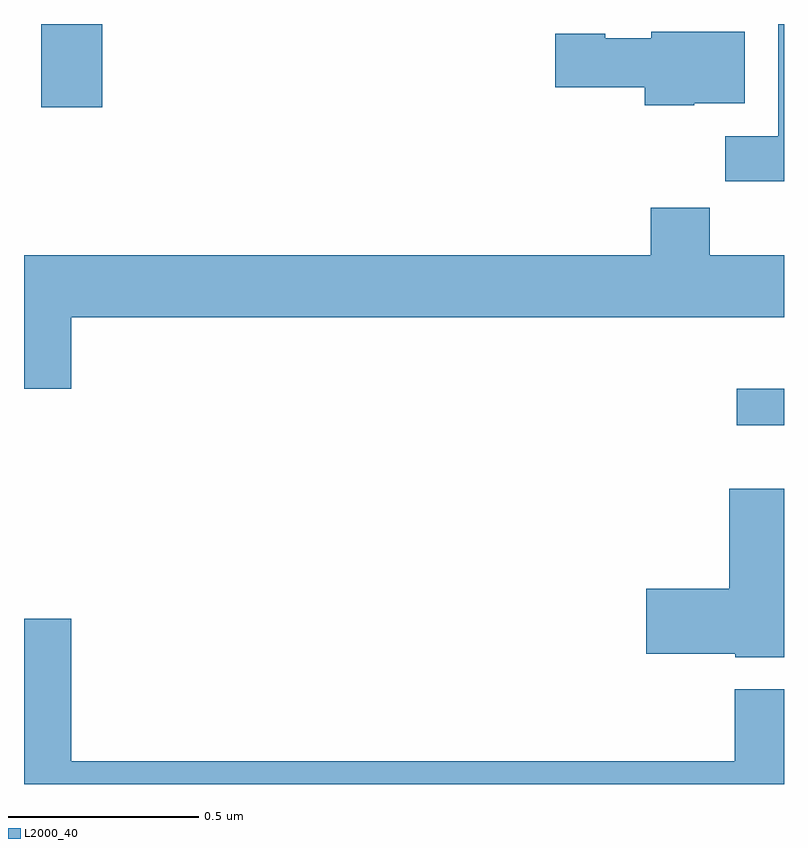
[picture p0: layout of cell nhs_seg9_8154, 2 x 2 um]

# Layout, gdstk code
import gdstk
lib = gdstk.Library(unit=1e-6, precision=1e-09)
def R(c, l, rs):  # rectangles x0, y0, x1, y1
    for r in rs: c.add(gdstk.rectangle(r[:2], r[2:], *l))
def P(c, l, *ps):  # polygons
    for p in ps: c.add(gdstk.Polygon(p, *l))
L2000_40 = (2000, 40)

nhs_seg9_8154 = lib.new_cell('nhs_seg9_8154')
R(nhs_seg9_8154, L2000_40, [(214.875,1221.444,215,1221.54), (213.046,1222.281,213.206,1222.5)])
P(nhs_seg9_8154, L2000_40, [(215,1222.5),(214.985,1222.5),(214.985,1222.204),(214.846,1222.204),(214.846,1222.086),(215,1222.086)],
  [(214.764,1222.292),(214.897,1222.292),(214.897,1222.48),(214.65,1222.48),(214.65,1222.462),(214.53,1222.462),(214.53,1222.475),(214.398,1222.475),(214.398,1222.333),(214.634,1222.333),(214.634,1222.286),(214.764,1222.286)],
  [(213.124,1221.728),(215,1221.728),(215,1221.892),(214.805,1221.892),(214.805,1222.016),(214.649,1222.016),(214.649,1221.892),(213,1221.892),(213,1221.54),(213.124,1221.54)],
  [(215,1221.277),(214.856,1221.277),(214.856,1221.014),(214.638,1221.014),(214.638,1220.843),(214.872,1220.843),(214.872,1220.834),(215,1220.834)],
  [(215,1220.749),(214.871,1220.749),(214.871,1220.56),(213.124,1220.56),(213.124,1220.935),(213,1220.935),(213,1220.5),(215,1220.5)])

lib.write_gds('nhs_seg9_8154.gds')
